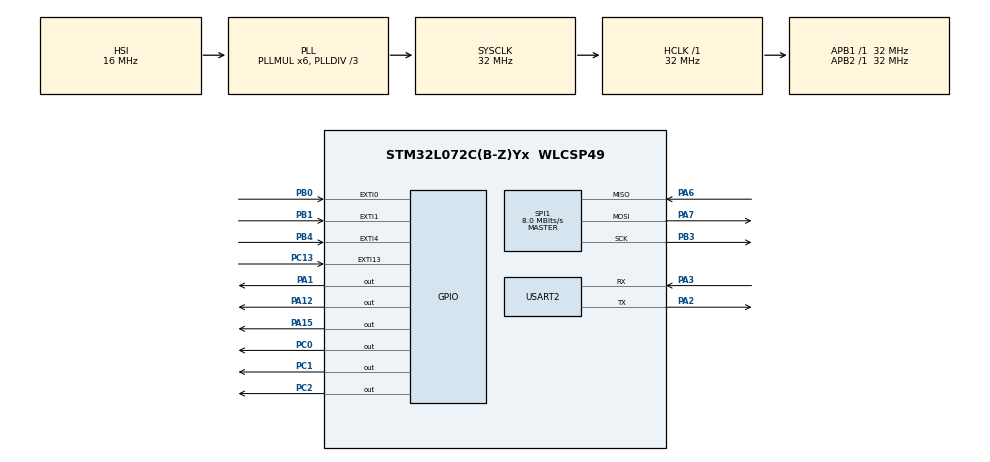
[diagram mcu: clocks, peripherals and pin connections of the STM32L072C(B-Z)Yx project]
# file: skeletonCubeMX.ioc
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Dma.Request0=USART2_TX
Dma.USART2_TX.0.Direction=DMA_MEMORY_TO_PERIPH
Dma.USART2_TX.0.Instance=DMA1_Channel4
Dma.USART2_TX.0.MemDataAlignment=DMA_MDATAALIGN_BYTE
Dma.USART2_TX.0.MemInc=DMA_MINC_ENABLE
Dma.USART2_TX.0.Mode=DMA_NORMAL
Dma.USART2_TX.0.PeriphDataAlignment=DMA_PDATAALIGN_BYTE
Dma.USART2_TX.0.PeriphInc=DMA_PINC_DISABLE
Dma.USART2_TX.0.Priority=DMA_PRIORITY_LOW
Mcu.Family=STM32L0
Mcu.Name=STM32L072C(B-Z)Yx
Mcu.Package=WLCSP49
NVIC.DMA1_Channel4_5_6_7_IRQn=true\:0\:0\:false\:false\:true\:false
NVIC.EXTI0_1_IRQn=true\:0\:0\:false\:false\:true\:true
NVIC.EXTI4_15_IRQn=true\:0\:0\:false\:false\:true\:true
NVIC.RTC_IRQn=true\:0\:0\:false\:false\:true\:true
NVIC.USART2_IRQn=true\:0\:0\:false\:false\:true\:true
PA1.GPIO_Speed=GPIO_SPEED_FREQ_HIGH
PA1.Signal=GPIO_Output
PA12.GPIO_Speed=GPIO_SPEED_FREQ_HIGH
PA12.Signal=GPIO_Output
PA13.Mode=Serial_Wire
PA13.Signal=SYS_SWDIO
PA14.Mode=Serial_Wire
PA14.Signal=SYS_SWCLK
PA15.GPIO_Speed=GPIO_SPEED_FREQ_HIGH
PA15.PinState=GPIO_PIN_SET
PA15.Signal=GPIO_Output
PA2.GPIO_Speed=GPIO_SPEED_FREQ_HIGH
PA2.Mode=Asynchronous
PA2.Signal=USART2_TX
PA3.GPIO_Speed=GPIO_SPEED_FREQ_HIGH
PA3.Mode=Asynchronous
PA3.Signal=USART2_RX
PA6.GPIO_Speed=GPIO_SPEED_FREQ_HIGH
PA6.Mode=Full_Duplex_Master
PA6.Signal=SPI1_MISO
PA7.GPIO_Speed=GPIO_SPEED_FREQ_HIGH
PA7.Mode=Full_Duplex_Master
PA7.Signal=SPI1_MOSI
PB0.Signal=GPXTI0
PB1.Signal=GPXTI1
PB3.GPIO_Speed=GPIO_SPEED_FREQ_HIGH
PB3.Mode=Full_Duplex_Master
PB3.Signal=SPI1_SCK
PB4.Signal=GPXTI4
PC0.GPIO_Speed=GPIO_SPEED_FREQ_HIGH
PC0.Signal=GPIO_Output
PC1.GPIO_Speed=GPIO_SPEED_FREQ_HIGH
PC1.Signal=GPIO_Output
PC13.Signal=GPXTI13
PC14-OSC32_IN.Mode=LSE-External-Oscillator
PC14-OSC32_IN.Signal=RCC_OSC32_IN
PC15-OSC32_OUT.Mode=LSE-External-Oscillator
PC15-OSC32_OUT.Signal=RCC_OSC32_OUT
PC2.GPIO_Speed=GPIO_SPEED_FREQ_HIGH
PC2.Signal=GPIO_Output
ProjectManager.HeapSize=0x200
ProjectManager.StackSize=0x400
ProjectManager.TargetToolchain=MDK-ARM V5
RCC.AHBFreq_Value=32000000
RCC.APB1Freq_Value=32000000
RCC.APB1TimFreq_Value=32000000
RCC.APB2Freq_Value=32000000
RCC.APB2TimFreq_Value=32000000
RCC.HCLKFreq_Value=32000000
RCC.HSE_VALUE=8000000
RCC.HSI16_VALUE=16000000
RCC.HSI48_VALUE=48000000
RCC.HSI_VALUE=16000000
RCC.MSI_VALUE=2097000
RCC.PLLDIV=RCC_PLLDIV_3
RCC.PLLMUL=RCC_PLLMUL_6
RCC.RTCClockSelection=RCC_RTCCLKSOURCE_LSE
RCC.RTCClockSelectionVirtual=RCC_RTCCLKSOURCE_LSE
RCC.SYSCLKFreq_VALUE=32000000
RCC.SYSCLKSource=RCC_SYSCLKSOURCE_PLLCLK
RCC.VCOOutputFreq_Value=96000000
RTC.Alarm-Alarm\ A=RTC_ALARM_A
RTC.AsynchPrediv=31
RTC.Format=RTC_FORMAT_BIN
RTC.SynchPrediv=1023
SPI1.BaudRatePrescaler=SPI_BAUDRATEPRESCALER_4
SPI1.CalculateBaudRate=8.0 MBits/s
SPI1.Direction=SPI_DIRECTION_2LINES
SPI1.Mode=SPI_MODE_MASTER
SPI1.VirtualType=VM_MASTER
USART2.VirtualMode-Asynchronous=VM_ASYNC
VP_ADC_TempSens_Input.Mode=IN-TempSens
VP_ADC_Vref_Input.Mode=IN-Vrefint
VP_RTC_VS_RTC_Activate.Mode=RTC_Enabled
VP_RTC_VS_RTC_Alarm_A_Intern.Mode=Alarm A
VP_RTC_VS_RTC_Calendar.Mode=RTC_Calendar
board=custom

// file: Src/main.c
/**
  ******************************************************************************
  * @file           : main.c
  * @brief          : Main program body
  ******************************************************************************
  ** This notice applies to any and all portions of this file
  * that are not between comment pairs USER CODE BEGIN and
  * USER CODE END. Other portions of this file, whether
  * inserted by the user or by software development tools
  * are owned by their respective copyright owners.
  *
  * COPYRIGHT(c) 2018 STMicroelectronics
  *
  * Redistribution and use in source and binary forms, with or without modification,
  * are permitted provided that the following conditions are met:
  *   1. Redistributions of source code must retain the above copyright notice,
  *      this list of conditions and the following disclaimer.
  *   2. Redistributions in binary form must reproduce the above copyright notice,
  *      this list of conditions and the following disclaimer in the documentation
  *      and/or other materials provided with the distribution.
  *   3. Neither the name of STMicroelectronics nor the names of its contributors
  *      may be used to endorse or promote products derived from this software
  *      without specific prior written permission.
  *
  * THIS SOFTWARE IS PROVIDED BY THE COPYRIGHT HOLDERS AND CONTRIBUTORS "AS IS"
  * AND ANY EXPRESS OR IMPLIED WARRANTIES, INCLUDING, BUT NOT LIMITED TO, THE
  * IMPLIED WARRANTIES OF MERCHANTABILITY AND FITNESS FOR A PARTICULAR PURPOSE ARE
  * DISCLAIMED. IN NO EVENT SHALL THE COPYRIGHT HOLDER OR CONTRIBUTORS BE LIABLE
  * FOR ANY DIRECT, INDIRECT, INCIDENTAL, SPECIAL, EXEMPLARY, OR CONSEQUENTIAL
  * DAMAGES (INCLUDING, BUT NOT LIMITED TO, PROCUREMENT OF SUBSTITUTE GOODS OR
  * SERVICES; LOSS OF USE, DATA, OR PROFITS; OR BUSINESS INTERRUPTION) HOWEVER
  * CAUSED AND ON ANY THEORY OF LIABILITY, WHETHER IN CONTRACT, STRICT LIABILITY,
  * OR TORT (INCLUDING NEGLIGENCE OR OTHERWISE) ARISING IN ANY WAY OUT OF THE USE
  * OF THIS SOFTWARE, EVEN IF ADVISED OF THE POSSIBILITY OF SUCH DAMAGE.
  *
  ******************************************************************************
  */
#include "main.h"
#include "stm32l0xx_hal.h"
#include "adc.h"
#include "dma.h"
#include "rtc.h"
#include "spi.h"
#include "usart.h"
#include "gpio.h"

/* USER CODE BEGIN Includes */
#include "hw.h"
#include "low_power_manager.h"
#include "lora.h"
#include "bsp.h"
#include "timeServer.h"
#include "vcom.h"
#include "version.h"
/* USER CODE END Includes */

/* USER CODE BEGIN PV */
/* Private variables ---------------------------------------------------------*/
/*!
 * Defines the application data transmission duty cycle. 5s, value in [ms].
 */
#define APP_TX_DUTYCYCLE                            10000
/*!
 * LoRaWAN Adaptive Data Rate
 * @note Please note that when ADR is enabled the end-device should be static
 */
#define LORAWAN_ADR_STATE                           LORAWAN_ADR_ON
/*!
 * LoRaWAN Default data Rate Data Rate
 * @note Please note that LORAWAN_DEFAULT_DATA_RATE is used only when ADR is disabled
 */
#define LORAWAN_DEFAULT_DATA_RATE                   DR_0
/*!
 * LoRaWAN application port
 * @note do not use 224. It is reserved for certification
 */
#define LORAWAN_APP_PORT                            2
/*!
 * LoRaWAN default endNode class port
 */
#define LORAWAN_DEFAULT_CLASS                       CLASS_A
/*!
 * LoRaWAN default confirm state
 */
#define LORAWAN_DEFAULT_CONFIRM_MSG_STATE           LORAWAN_UNCONFIRMED_MSG
/*!
 * User application data buffer size
 */
#define LORAWAN_APP_DATA_BUFF_SIZE                  64
/* USER CODE END PV */

void SystemClock_Config(void);

/* USER CODE BEGIN PFP */
/* Private function prototypes -----------------------------------------------*/
/* call back when LoRa endNode has received a frame*/
static void LORA_RxData( lora_AppData_t *AppData);

/* call back when LoRa endNode has just joined*/
static void LORA_HasJoined( void );

/* call back when LoRa endNode has just switch the class*/
static void LORA_ConfirmClass ( DeviceClass_t Class );

/* call back when server needs endNode to send a frame*/
static void LORA_TxNeeded ( void );

/* start the tx process*/
static void LoraStartTx(TxEventType_t EventType);

/* tx timer callback function*/
static void OnTxTimerEvent( void );
/* USER CODE END PFP */

/* USER CODE BEGIN 0 */
/* load Main call backs structure*/
/*!
 * User application data
 */
static uint8_t AppDataBuff[LORAWAN_APP_DATA_BUFF_SIZE];

/*!
 * User application data structure
 */
lora_AppData_t AppData = { AppDataBuff,  0 ,0 };

static TimerEvent_t TxTimer;

static LoRaMainCallback_t LoRaMainCallbacks = { HW_GetBatteryLevel,
                                                HW_GetTemperatureLevel,
                                                HW_GetUniqueId,
                                                HW_GetRandomSeed,
                                                LORA_RxData,
                                                LORA_HasJoined,
                                                LORA_ConfirmClass,
                                                LORA_TxNeeded};
/* !
 *Initialises the Lora Parameters
 */
static  LoRaParam_t LoRaParamInit= {LORAWAN_ADR_STATE,
                                    LORAWAN_DEFAULT_DATA_RATE,
                                    LORAWAN_PUBLIC_NETWORK};
/* USER CODE END 0 */

int main(void)
{

  /* MCU Configuration----------------------------------------------------------*/

  /* Reset of all peripherals, Initializes the Flash interface and the Systick. */
  HAL_Init();

  /* Configure the system clock */
  SystemClock_Config();

  /* Initialize all configured peripherals */
  MX_GPIO_Init();
  MX_DMA_Init();
  MX_SPI1_Init();
  MX_ADC_Init();
  MX_USART2_UART_Init();
  MX_RTC_Init();
  /* USER CODE BEGIN 2 */
  DBG_Init();
  TraceInit();
  Radio.IoInit( );
  /*Disbale Stand-by mode*/
  LPM_SetOffMode(LPM_APPLI_Id , LPM_Disable );

  PRINTNOW();
  PRINTF("Start program\n\r");

  LORA_Init( &LoRaMainCallbacks, &LoRaParamInit);
  LORA_Join();
  LoraStartTx(TX_ON_TIMER) ;
  /* USER CODE END 2 */

  /* Infinite loop */
  while (1)
  {

  /* USER CODE BEGIN 3 */
    LoRaMacProcess( );
    DISABLE_IRQ( );
    /* if an interrupt has occurred after DISABLE_IRQ, it is kept pending
     * and cortex will not enter low power anyway  */

#ifndef LOW_POWER_DISABLE
    LPM_EnterLowPower( );
#endif

    ENABLE_IRQ();
    PRINTNOW();
    PRINTF("At loop end\n\r");
    HAL_Delay(1000);
  }
  /* USER CODE END 3 */

}

void SystemClock_Config(void)
{

  RCC_OscInitTypeDef RCC_OscInitStruct;
  RCC_ClkInitTypeDef RCC_ClkInitStruct;
  RCC_PeriphCLKInitTypeDef PeriphClkInit;

    /**Configure the main internal regulator output voltage
    */
  __HAL_PWR_VOLTAGESCALING_CONFIG(PWR_REGULATOR_VOLTAGE_SCALE1);

    /**Configure LSE Drive Capability
    */
  HAL_PWR_EnableBkUpAccess();

  __HAL_RCC_LSEDRIVE_CONFIG(RCC_LSEDRIVE_LOW);

    /**Initializes the CPU, AHB and APB busses clocks
    */
  RCC_OscInitStruct.OscillatorType = RCC_OSCILLATORTYPE_HSI|RCC_OSCILLATORTYPE_LSE;
  RCC_OscInitStruct.LSEState = RCC_LSE_ON;
  RCC_OscInitStruct.HSIState = RCC_HSI_ON;
  RCC_OscInitStruct.HSICalibrationValue = 16;
  RCC_OscInitStruct.PLL.PLLState = RCC_PLL_ON;
  RCC_OscInitStruct.PLL.PLLSource = RCC_PLLSOURCE_HSI;
  RCC_OscInitStruct.PLL.PLLMUL = RCC_PLLMUL_6;
  RCC_OscInitStruct.PLL.PLLDIV = RCC_PLLDIV_3;
  if (HAL_RCC_OscConfig(&RCC_OscInitStruct) != HAL_OK)
  {
    _Error_Handler(__FILE__, __LINE__);
  }

    /**Initializes the CPU, AHB and APB busses clocks
    */
  RCC_ClkInitStruct.ClockType = RCC_CLOCKTYPE_HCLK|RCC_CLOCKTYPE_SYSCLK
                              |RCC_CLOCKTYPE_PCLK1|RCC_CLOCKTYPE_PCLK2;
  RCC_ClkInitStruct.SYSCLKSource = RCC_SYSCLKSOURCE_PLLCLK;
  RCC_ClkInitStruct.AHBCLKDivider = RCC_SYSCLK_DIV1;
  RCC_ClkInitStruct.APB1CLKDivider = RCC_HCLK_DIV1;
  RCC_ClkInitStruct.APB2CLKDivider = RCC_HCLK_DIV1;

  if (HAL_RCC_ClockConfig(&RCC_ClkInitStruct, FLASH_LATENCY_1) != HAL_OK)
  {
    _Error_Handler(__FILE__, __LINE__);
  }

  PeriphClkInit.PeriphClockSelection = RCC_PERIPHCLK_USART2|RCC_PERIPHCLK_RTC;
  PeriphClkInit.Usart2ClockSelection = RCC_USART2CLKSOURCE_PCLK1;
  PeriphClkInit.RTCClockSelection = RCC_RTCCLKSOURCE_LSE;
  if (HAL_RCCEx_PeriphCLKConfig(&PeriphClkInit) != HAL_OK)
  {
    _Error_Handler(__FILE__, __LINE__);
  }

    /**Configure the Systick interrupt time
    */
  HAL_SYSTICK_Config(HAL_RCC_GetHCLKFreq()/1000);

    /**Configure the Systick
    */
  HAL_SYSTICK_CLKSourceConfig(SYSTICK_CLKSOURCE_HCLK);

  /* SysTick_IRQn interrupt configuration */
  HAL_NVIC_SetPriority(SysTick_IRQn, 0, 0);
}

/* USER CODE BEGIN 4 */
static void Send( void )
{
  uint32_t i = 0;
  uint8_t batteryLevel;

  if ( LORA_JoinStatus () != LORA_SET)
  {
    /*Not joined, try again later*/
    LORA_Join();
    return;
  }
  batteryLevel = HW_GetBatteryLevel( );                     /* 1 (very low) to 254 (fully charged) */
  AppData.Buff[i++] = batteryLevel*100/254;
  AppData.BuffSize = i;
  AppData.Port = LORAWAN_APP_PORT;

  LORA_send( &AppData, LORAWAN_DEFAULT_CONFIRM_MSG_STATE);
}

static void LORA_RxData( lora_AppData_t *AppData )
{
  PRINTF("PACKET RECEIVED ON PORT %d\n\r", AppData->Port);

  switch (AppData->Port)
  {
    case 0:
      break;
    default:
      break;
  }
}

static void LoraStartTx(TxEventType_t EventType)
{
  if (EventType == TX_ON_TIMER)
  {
    /* send everytime timer elapses */
    TimerInit( &TxTimer, OnTxTimerEvent );
    TimerSetValue( &TxTimer,  APP_TX_DUTYCYCLE);
    OnTxTimerEvent();
  }
  else
  {
    /* send everytime button is pushed */
    GPIO_InitTypeDef initStruct={0};

    initStruct.Mode =GPIO_MODE_IT_RISING;
    initStruct.Pull = GPIO_PULLUP;
    initStruct.Speed = GPIO_SPEED_HIGH;

    HW_GPIO_Init( USER_BUTTON_GPIO_PORT, USER_BUTTON_PIN, &initStruct );
    HW_GPIO_SetIrq( USER_BUTTON_GPIO_PORT, USER_BUTTON_PIN, 0, Send );
  }
}

static void LORA_HasJoined( void )
{
#if( OVER_THE_AIR_ACTIVATION != 0 )
  PRINTF("JOINED\n\r");
#endif
  LORA_RequestClass( LORAWAN_DEFAULT_CLASS );
}

static void LORA_ConfirmClass ( DeviceClass_t Class )
{
  PRINTF("switch to class %c done\n\r","ABC"[Class] );
}

static void LORA_TxNeeded ( void )
{
  PRINTF("TX NEEDED\n\r");
}

static void OnTxTimerEvent( void )
{
  /*Wait for next tx slot*/
  TimerStart( &TxTimer);
  /*Send*/
  Send( );
}
/* USER CODE END 4 */

void _Error_Handler(char *file, int line)
{
  while(1)
  {
  }
}

/************************ (C) COPYRIGHT STMicroelectronics *****END OF FILE****/
